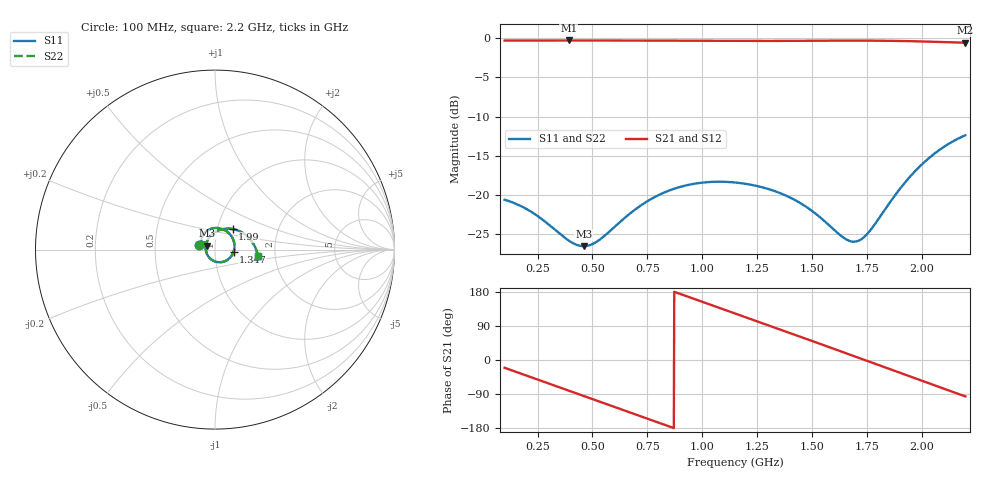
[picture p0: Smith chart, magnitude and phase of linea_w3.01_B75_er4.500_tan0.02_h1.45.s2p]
! Chirptenna · simulación 3D de una microstrip de dos puertos (S12 = S21, S22 = S11 por simetría)
# HZ S RI R 50
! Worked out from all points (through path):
!   1101 points, 100 MHz to 2.2 GHz, reference 50 ohm
!   highest |S21| = -0.31 dB at 392.1 MHz (marker M1); lowest = -0.6 dB at 2.2 GHz (marker M2)
!   group delay of S21, straight-line fit = 576 ps
!   lowest |S11| = -26.5 dB at 460.8 MHz (marker M3), VSWR 1.10, Z = 45.9 + j1.99 ohm
!   |S11| at or under -10 dB: start of sweep to end of sweep
!   |S22| runs from -26.5 to -12.4 dB; largest |S21 - S12| = 0
!   S11 on the Smith chart (normalised r, x): 100 MHz: 0.83, +0.04; 1.347 GHz: 1.23, -0.03; 1.99 GHz: 1.18, +0.28; 2.2 GHz: 1.62, -0.11
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1e8  -0.0901 0.0244  0.902 -0.3383  0.902 -0.3383  -0.0901 0.0244
2.603636e8  -0.059 0.0409  0.5725 -0.7758  0.5725 -0.7758  -0.059 0.0409
3.920909e8  -0.0417 0.0299  0.155 -0.9521  0.155 -0.9521  -0.0417 0.0299
4.512727e8  -0.0416 0.0226  -0.0501 -0.9632  -0.0501 -0.9632  -0.0416 0.0226
4.608182e8  -0.042 0.0216  -0.0833 -0.9608  -0.0833 -0.9608  -0.042 0.0216
6.154545e8  -0.0622 0.0199  -0.5782 -0.7703  -0.5782 -0.7703  -0.0622 0.0199
7.109091e8  -0.0744 0.039  -0.803 -0.5295  -0.803 -0.5295  -0.0744 0.039
8.006364e8  -0.0729 0.0681  -0.9283 -0.2469  -0.9283 -0.2469  -0.0729 0.0681
8.846364e8  -0.0546 0.0967  -0.9587 0.0404  -0.9587 0.0404  -0.0546 0.0967
9.686364e8  -0.0201 0.1166  -0.9024 0.3235  -0.9024 0.3235  -0.0201 0.1166
1.054545e9  0.0254 0.1188  -0.7608 0.5821  -0.7608 0.5821  0.0254 0.1188
1.15e9  0.0743 0.0946  -0.5202 0.8039  -0.5202 0.8039  0.0743 0.0946
1.249273e9  0.1052 0.0446  -0.206 0.9352  -0.206 0.9352  0.1052 0.0446
1.346636e9  0.1032 -0.0131  0.1283 0.9496  0.1283 0.9496  0.1032 -0.0131
1.501273e9  0.0381 -0.0695  0.6141 0.738  0.6141 0.738  0.0381 -0.0695
1.602455e9  -0.0176 -0.0573  0.8398 0.4681  0.8398 0.4681  -0.0176 -0.0573
1.696e9  -0.0492 -0.0115  0.9489 0.1593  0.9489 0.1593  -0.0492 -0.0115
1.772364e9  -0.0472 0.0387  0.9554 -0.1095  0.9554 -0.1095  -0.0472 0.0387
1.850636e9  -0.015 0.0863  0.883 -0.3757  0.883 -0.3757  -0.015 0.0863
1.99e9  0.0984 0.1146  0.5805 -0.7541  0.5805 -0.7541  0.0984 0.1146
2.095e9  0.1886 0.0655  0.2542 -0.9077  0.2542 -0.9077  0.1886 0.0655
2.2e9  0.2381 -0.0333  -0.0984 -0.928  -0.0984 -0.928  0.2381 -0.0333
